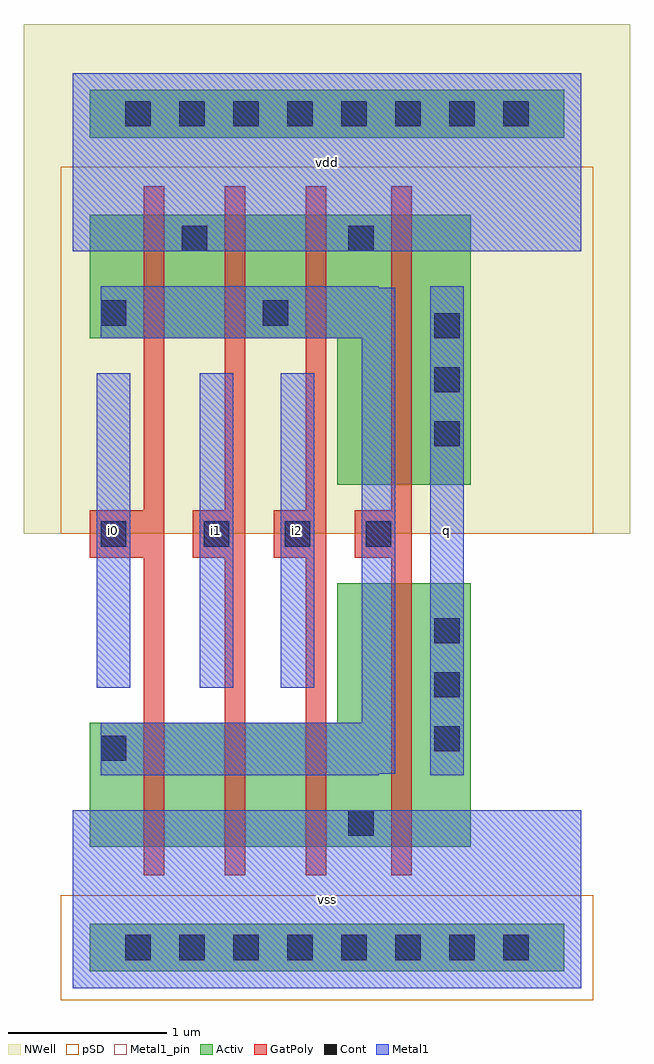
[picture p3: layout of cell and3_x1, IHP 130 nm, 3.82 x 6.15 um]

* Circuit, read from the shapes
.subckt and3_x1 i0 i1 i2 q vdd vss
XM1 n1 i0 n2 vss sg13_lv_nmos w=0.78u l=0.13u
XM2 n3 i1 n1 vss sg13_lv_nmos w=0.78u l=0.13u
XM3 vss i2 n3 vss sg13_lv_nmos w=0.78u l=0.13u
XM4 q n2 vss vss sg13_lv_nmos w=1.66u l=0.13u
XM5 vdd i0 n2 vdd sg13_lv_pmos w=0.78u l=0.13u
XM6 n2 i1 vdd vdd sg13_lv_pmos w=0.78u l=0.13u
XM7 vdd i2 n2 vdd sg13_lv_pmos w=0.78u l=0.13u
XM8 q n2 vdd vdd sg13_lv_pmos w=1.7u l=0.13u
.ends

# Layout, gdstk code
import gdstk
lib = gdstk.Library(unit=1e-6, precision=1e-09)
def R(c, l, rs):  # rectangles x0, y0, x1, y1
    for r in rs: c.add(gdstk.rectangle(r[:2], r[2:], *l))
def P(c, l, *ps):  # polygons
    for p in ps: c.add(gdstk.Polygon(p, *l))
Activ = (1, 0)
GatPoly = (5, 0)
Cont = (6, 0)
Metal1 = (8, 0)
Metal1_pin = (8, 2)
pSD = (14, 0)
NWell = (31, 0)

and3_x1 = lib.new_cell('and3_x1')
P(and3_x1, Activ, [(0.575,0.89),(0.575,1.67),(0.805,1.67),(0.805,0.89),(0.575,0.89)],
  [(0.725,0.89),(0.725,1.67),(0.955,1.67),(0.955,0.89),(0.725,0.89)],
  [(0.58,0.89),(0.58,1.67),(0.95,1.67),(0.95,0.89),(0.58,0.89)],
  [(0.645,0.89),(0.645,1.67),(0.885,1.67),(0.885,0.89),(0.645,0.89)],
  [(1.09,0.89),(1.09,1.67),(1.46,1.67),(1.46,0.89),(1.09,0.89)],
  [(1.235,0.89),(1.235,1.67),(1.465,1.67),(1.465,0.89),(1.235,0.89)],
  [(1.085,0.89),(1.085,1.67),(1.315,1.67),(1.315,0.89),(1.085,0.89)],
  [(1.155,0.89),(1.155,1.67),(1.395,1.67),(1.395,0.89),(1.155,0.89)],
  [(1.595,0.89),(1.595,1.67),(1.825,1.67),(1.825,0.89),(1.595,0.89)],
  [(0.105,0.105),(0.105,0.405),(3.095,0.405),(3.095,0.105),(0.105,0.105)],
  [(2.005,0.89),(2.005,2.55),(2.135,2.55),(2.135,0.89),(2.005,0.89)],
  [(1.665,0.89),(1.665,2.55),(1.965,2.55),(1.965,0.89),(1.665,0.89)],
  [(1.465,0.89),(1.465,1.67),(1.595,1.67),(1.595,0.89),(1.465,0.89)],
  [(0.26,0.105),(0.26,0.405),(2.94,0.405),(2.94,0.105),(0.26,0.105)],
  [(0.955,0.89),(0.955,1.67),(1.085,1.67),(1.085,0.89),(0.955,0.89)],
  [(1.775,0.89),(1.775,2.55),(2.005,2.55),(2.005,0.89),(1.775,0.89)],
  [(0.445,0.89),(0.445,1.67),(0.575,1.67),(0.575,0.89),(0.445,0.89)],
  [(1.665,0.89),(1.665,2.55),(1.935,2.55),(1.935,0.89),(1.665,0.89)],
  [(1.665,0.89),(1.665,1.19),(1.965,1.19),(1.965,0.89),(1.665,0.89)],
  [(0.615,4.09),(0.615,4.87),(0.915,4.87),(0.915,4.09),(0.615,4.09)],
  [(1.595,4.09),(1.595,4.87),(1.825,4.87),(1.825,4.09),(1.595,4.09)],
  [(0.955,4.09),(0.955,4.87),(1.085,4.87),(1.085,4.09),(0.955,4.09)],
  [(0.725,4.09),(0.725,4.87),(0.955,4.87),(0.955,4.09),(0.725,4.09)],
  [(2.005,3.17),(2.005,4.87),(2.135,4.87),(2.135,3.17),(2.005,3.17)],
  [(0.645,4.09),(0.645,4.87),(0.885,4.87),(0.885,4.09),(0.645,4.09)],
  [(0.445,4.09),(0.445,4.87),(0.575,4.87),(0.575,4.09),(0.445,4.09)],
  [(1.465,4.09),(1.465,4.87),(1.595,4.87),(1.595,4.09),(1.465,4.09)],
  [(0.575,4.09),(0.575,4.87),(0.805,4.87),(0.805,4.09),(0.575,4.09)],
  [(0.105,5.355),(0.105,5.655),(3.095,5.655),(3.095,5.355),(0.105,5.355)],
  [(1.775,3.17),(1.775,4.87),(2.005,4.87),(2.005,3.17),(1.775,3.17)],
  [(0.26,5.355),(0.26,5.655),(2.94,5.655),(2.94,5.355),(0.26,5.355)],
  [(1.665,3.17),(1.665,4.87),(1.965,4.87),(1.965,3.17),(1.665,3.17)],
  [(0.615,4.57),(0.615,4.87),(0.915,4.87),(0.915,4.57),(0.615,4.57)],
  [(1.665,3.17),(1.665,4.87),(1.935,4.87),(1.935,3.17),(1.665,3.17)],
  [(1.665,4.57),(1.665,4.87),(1.965,4.87),(1.965,4.57),(1.665,4.57)],
  [(2.205,0.89),(2.205,2.55),(2.505,2.55),(2.505,0.89),(2.205,0.89)],
  [(2.205,1.42),(2.205,2.4),(2.505,2.4),(2.505,1.42),(2.205,1.42)],
  [(2.135,3.17),(2.135,4.87),(2.365,4.87),(2.365,3.17),(2.135,3.17)],
  [(2.135,0.89),(2.135,2.55),(2.365,2.55),(2.365,0.89),(2.135,0.89)],
  [(2.205,0.89),(2.205,2.55),(2.505,2.55),(2.505,0.89),(2.205,0.89)],
  [(2.205,3.34),(2.205,4.32),(2.505,4.32),(2.505,3.34),(2.205,3.34)],
  [(2.205,3.17),(2.205,4.87),(2.505,4.87),(2.505,3.17),(2.205,3.17)],
  [(2.205,3.17),(2.205,4.87),(2.505,4.87),(2.505,3.17),(2.205,3.17)],
  [(0.105,0.89),(0.105,1.67),(0.375,1.67),(0.375,0.89),(0.105,0.89)],
  [(1.085,4.09),(1.085,4.87),(1.315,4.87),(1.315,4.09),(1.085,4.09)],
  [(0.105,4.1),(0.105,4.4),(0.405,4.4),(0.405,4.1),(0.105,4.1)],
  [(0.105,0.89),(0.105,1.67),(0.405,1.67),(0.405,0.89),(0.105,0.89)],
  [(0.105,4.09),(0.105,4.87),(0.375,4.87),(0.375,4.09),(0.105,4.09)],
  [(1.125,4.1),(1.125,4.4),(1.425,4.4),(1.425,4.1),(1.125,4.1)],
  [(1.235,4.09),(1.235,4.87),(1.465,4.87),(1.465,4.09),(1.235,4.09)],
  [(0.105,1.36),(0.105,1.66),(0.405,1.66),(0.405,1.36),(0.105,1.36)],
  [(0.105,4.09),(0.105,4.87),(0.405,4.87),(0.405,4.09),(0.105,4.09)],
  [(1.125,4.09),(1.125,4.87),(1.425,4.87),(1.425,4.09),(1.125,4.09)],
  [(0.215,4.09),(0.215,4.87),(0.445,4.87),(0.445,4.09),(0.215,4.09)],
  [(0.215,0.89),(0.215,1.67),(0.445,1.67),(0.445,0.89),(0.215,0.89)],
  [(1.155,4.09),(1.155,4.87),(1.395,4.87),(1.395,4.09),(1.155,4.09)])
P(and3_x1, GatPoly, [(2.005,0.71),(2.005,2.73),(2.135,2.73),(2.135,0.71),(2.005,0.71)],
  [(2.005,0.71),(2.005,2.99),(2.135,2.99),(2.135,0.71),(2.005,0.71)],
  [(1.925,2.71),(1.925,3.01),(2.07,3.01),(2.07,2.71),(1.925,2.71)],
  [(1.775,2.71),(1.775,3.01),(2.075,3.01),(2.075,2.71),(1.775,2.71)],
  [(2.005,2.99),(2.005,5.05),(2.135,5.05),(2.135,2.99),(2.005,2.99)],
  [(1.465,0.71),(1.465,1.85),(1.595,1.85),(1.595,0.71),(1.465,0.71)],
  [(1.465,3.91),(1.465,5.05),(1.595,5.05),(1.595,3.91),(1.465,3.91)],
  [(1.465,0.71),(1.465,3.91),(1.595,3.91),(1.595,0.71),(1.465,0.71)],
  [(1.265,2.71),(1.265,3.01),(1.565,3.01),(1.565,2.71),(1.265,2.71)],
  [(1.415,2.71),(1.415,3.01),(1.53,3.01),(1.53,2.71),(1.415,2.71)],
  [(0.955,0.71),(0.955,1.85),(1.085,1.85),(1.085,0.71),(0.955,0.71)],
  [(0.905,2.71),(0.905,3.01),(1.02,3.01),(1.02,2.71),(0.905,2.71)],
  [(0.955,0.71),(0.955,3.91),(1.085,3.91),(1.085,0.71),(0.955,0.71)],
  [(0.955,3.91),(0.955,5.05),(1.085,5.05),(1.085,3.91),(0.955,3.91)],
  [(0.755,2.71),(0.755,3.01),(1.055,3.01),(1.055,2.71),(0.755,2.71)],
  [(0.445,0.71),(0.445,3.91),(0.575,3.91),(0.575,0.71),(0.445,0.71)],
  [(0.255,2.71),(0.255,3.01),(0.51,3.01),(0.51,2.71),(0.255,2.71)],
  [(0.445,0.71),(0.445,1.85),(0.575,1.85),(0.575,0.71),(0.445,0.71)],
  [(0.105,2.71),(0.105,3.01),(0.405,3.01),(0.405,2.71),(0.105,2.71)],
  [(0.445,3.91),(0.445,5.05),(0.575,5.05),(0.575,3.91),(0.445,3.91)])
P(and3_x1, Cont, [(0.33,0.175),(0.33,0.335),(0.49,0.335),(0.49,0.175),(0.33,0.175)],
  [(0.67,0.175),(0.67,0.335),(0.83,0.335),(0.83,0.175),(0.67,0.175)],
  [(1.01,0.175),(1.01,0.335),(1.17,0.335),(1.17,0.175),(1.01,0.175)],
  [(1.35,0.175),(1.35,0.335),(1.51,0.335),(1.51,0.175),(1.35,0.175)],
  [(1.69,0.175),(1.69,0.335),(1.85,0.335),(1.85,0.175),(1.69,0.175)],
  [(2.03,0.175),(2.03,0.335),(2.19,0.335),(2.19,0.175),(2.03,0.175)],
  [(2.37,0.175),(2.37,0.335),(2.53,0.335),(2.53,0.175),(2.37,0.175)],
  [(2.71,0.175),(2.71,0.335),(2.87,0.335),(2.87,0.175),(2.71,0.175)],
  [(1.735,0.96),(1.735,1.12),(1.895,1.12),(1.895,0.96),(1.735,0.96)],
  [(1.735,4.64),(1.735,4.8),(1.895,4.8),(1.895,4.64),(1.735,4.64)],
  [(2.71,5.425),(2.71,5.585),(2.87,5.585),(2.87,5.425),(2.71,5.425)],
  [(2.37,5.425),(2.37,5.585),(2.53,5.585),(2.53,5.425),(2.37,5.425)],
  [(2.03,5.425),(2.03,5.585),(2.19,5.585),(2.19,5.425),(2.03,5.425)],
  [(1.69,5.425),(1.69,5.585),(1.85,5.585),(1.85,5.425),(1.69,5.425)],
  [(1.35,5.425),(1.35,5.585),(1.51,5.585),(1.51,5.425),(1.35,5.425)],
  [(1.01,5.425),(1.01,5.585),(1.17,5.585),(1.17,5.425),(1.01,5.425)],
  [(0.685,4.64),(0.685,4.8),(0.845,4.8),(0.845,4.64),(0.685,4.64)],
  [(0.33,5.425),(0.33,5.585),(0.49,5.585),(0.49,5.425),(0.33,5.425)],
  [(0.67,5.425),(0.67,5.585),(0.83,5.585),(0.83,5.425),(0.67,5.425)],
  [(2.275,2.17),(2.275,2.33),(2.435,2.33),(2.435,2.17),(2.275,2.17)],
  [(2.275,1.83),(2.275,1.99),(2.435,1.99),(2.435,1.83),(2.275,1.83)],
  [(2.275,1.49),(2.275,1.65),(2.435,1.65),(2.435,1.49),(2.275,1.49)],
  [(2.275,3.41),(2.275,3.57),(2.435,3.57),(2.435,3.41),(2.275,3.41)],
  [(2.275,3.75),(2.275,3.91),(2.435,3.91),(2.435,3.75),(2.275,3.75)],
  [(2.275,4.09),(2.275,4.25),(2.435,4.25),(2.435,4.09),(2.275,4.09)],
  [(0.175,4.17),(0.175,4.33),(0.335,4.33),(0.335,4.17),(0.175,4.17)],
  [(1.195,4.17),(1.195,4.33),(1.355,4.33),(1.355,4.17),(1.195,4.17)],
  [(1.845,2.78),(1.845,2.94),(2.005,2.94),(2.005,2.78),(1.845,2.78)],
  [(0.175,1.43),(0.175,1.59),(0.335,1.59),(0.335,1.43),(0.175,1.43)],
  [(1.335,2.78),(1.335,2.94),(1.495,2.94),(1.495,2.78),(1.335,2.78)],
  [(0.825,2.78),(0.825,2.94),(0.985,2.94),(0.985,2.78),(0.825,2.78)],
  [(0.175,2.78),(0.175,2.94),(0.335,2.94),(0.335,2.78),(0.175,2.78)])
R(and3_x1, Metal1, [(0,0,3.2,1.12), (2.25,1.34,2.46,4.42), (0.15,1.89,0.36,3.87), (0.8,1.89,1.01,3.87), (1.31,1.89,1.52,3.87), (0,4.64,3.2,5.76)])
P(and3_x1, Metal1, [(1.655,0.96),(1.655,1.12),(1.975,1.12),(1.975,0.96),(1.655,0.96)],
  [(0,0),(0,1.12),(3.2,1.12),(3.2,0),(0,0)],
  [(0.33,0.095),(0.33,0.415),(2.87,0.415),(2.87,0.095),(0.33,0.095)],
  [(0,4.64),(0,5.76),(3.2,5.76),(3.2,4.64),(0,4.64)],
  [(0.33,5.345),(0.33,5.665),(2.87,5.665),(2.87,5.345),(0.33,5.345)],
  [(1.655,4.64),(1.655,4.8),(1.975,4.8),(1.975,4.64),(1.655,4.64)],
  [(0.605,4.64),(0.605,4.8),(0.925,4.8),(0.925,4.64),(0.605,4.64)],
  [(2.25,1.34),(2.25,4.42),(2.46,4.42),(2.46,1.34),(2.25,1.34)],
  [(2.275,3.24),(2.275,4.42),(2.435,4.42),(2.435,3.24),(2.275,3.24)],
  [(2.275,1.34),(2.275,2.48),(2.435,2.48),(2.435,1.34),(2.275,1.34)],
  [(2.275,1.41),(2.275,2.41),(2.435,2.41),(2.435,1.41),(2.275,1.41)],
  [(2.275,3.33),(2.275,4.33),(2.435,4.33),(2.435,3.33),(2.275,3.33)],
  [(0.255,1.34),(0.255,1.67),(1.925,1.67),(1.925,1.34),(0.255,1.34)],
  [(0.175,4.09),(0.175,4.41),(0.335,4.41),(0.335,4.09),(0.175,4.09)],
  [(1.82,1.35),(1.82,4.41),(2.03,4.41),(2.03,1.35),(1.82,1.35)],
  [(1.195,4.09),(1.195,4.41),(1.355,4.41),(1.355,4.09),(1.195,4.09)],
  [(1.82,1.35),(1.82,1.67),(2.03,1.67),(2.03,1.35),(1.82,1.35)],
  [(0.175,4.09),(0.175,4.42),(0.335,4.42),(0.335,4.09),(0.175,4.09)],
  [(0.255,4.09),(0.255,4.42),(1.925,4.42),(1.925,4.09),(0.255,4.09)],
  [(1.195,4.09),(1.195,4.42),(1.355,4.42),(1.355,4.09),(1.195,4.09)],
  [(0.175,1.35),(0.175,1.67),(0.335,1.67),(0.335,1.35),(0.175,1.35)],
  [(0.175,1.34),(0.175,1.67),(0.335,1.67),(0.335,1.34),(0.175,1.34)],
  [(1.845,2.7),(1.845,3.02),(2.005,3.02),(2.005,2.7),(1.845,2.7)],
  [(1.82,4.09),(1.82,4.41),(2.03,4.41),(2.03,4.09),(1.82,4.09)],
  [(1.31,1.89),(1.31,3.87),(1.52,3.87),(1.52,1.89),(1.31,1.89)],
  [(1.335,2.7),(1.335,3.02),(1.495,3.02),(1.495,2.7),(1.335,2.7)],
  [(0.8,1.89),(0.8,3.87),(1.01,3.87),(1.01,1.89),(0.8,1.89)],
  [(0.825,2.7),(0.825,3.02),(0.985,3.02),(0.985,2.7),(0.825,2.7)],
  [(0.15,1.89),(0.15,3.87),(0.36,3.87),(0.36,1.89),(0.15,1.89)],
  [(0.175,2.7),(0.175,3.02),(0.335,3.02),(0.335,2.7),(0.175,2.7)])
R(and3_x1, Metal1_pin, [(0,0,3.2,1.12), (0,0,3.2,1.12), (2.25,1.34,2.46,4.42), (2.25,1.34,2.46,4.42), (0.15,1.89,0.36,3.87), (0.15,1.89,0.36,3.87), (0.8,1.89,1.01,3.87), (0.8,1.89,1.01,3.87), (1.31,1.89,1.52,3.87), (1.31,1.89,1.52,3.87), (0,4.64,3.2,5.76), (0,4.64,3.2,5.76)])
P(and3_x1, pSD, [(-0.075,2.86),(-0.075,5.17),(3.275,5.17),(3.275,2.86),(-0.075,2.86)],
  [(1.485,2.87),(1.485,5.17),(2.115,5.17),(2.115,2.87),(1.485,2.87)],
  [(1.705,2.87),(1.705,5.17),(2.435,5.17),(2.435,2.87),(1.705,2.87)],
  [(1.485,4.27),(1.485,5.17),(2.145,5.17),(2.145,4.27),(1.485,4.27)],
  [(0.465,3.79),(0.465,5.17),(1.065,5.17),(1.065,3.79),(0.465,3.79)],
  [(-0.075,-0.075),(-0.075,0.585),(3.275,0.585),(3.275,-0.075),(-0.075,-0.075)],
  [(2.025,3.04),(2.025,4.62),(2.685,4.62),(2.685,3.04),(2.025,3.04)],
  [(1.165,3.79),(1.165,5.17),(1.895,5.17),(1.895,3.79),(1.165,3.79)],
  [(-0.075,3.79),(-0.075,5.17),(0.555,5.17),(0.555,3.79),(-0.075,3.79)],
  [(-0.075,3.79),(-0.075,5.17),(0.585,5.17),(0.585,3.79),(-0.075,3.79)],
  [(-0.075,3.8),(-0.075,4.7),(0.585,4.7),(0.585,3.8),(-0.075,3.8)],
  [(1.485,2.87),(1.485,5.17),(2.145,5.17),(2.145,2.87),(1.485,2.87)],
  [(0.655,3.79),(0.655,5.17),(1.385,5.17),(1.385,3.79),(0.655,3.79)],
  [(2.025,2.87),(2.025,5.17),(2.685,5.17),(2.685,2.87),(2.025,2.87)],
  [(0.435,3.79),(0.435,5.17),(1.095,5.17),(1.095,3.79),(0.435,3.79)],
  [(0.945,3.8),(0.945,4.7),(1.605,4.7),(1.605,3.8),(0.945,3.8)],
  [(1.055,3.91),(1.055,5.05),(2.005,5.05),(2.005,3.91),(1.055,3.91)],
  [(0.545,3.91),(0.545,5.05),(1.495,5.05),(1.495,3.91),(0.545,3.91)],
  [(0.435,4.27),(0.435,5.17),(1.095,5.17),(1.095,4.27),(0.435,4.27)],
  [(2.025,2.87),(2.025,5.17),(2.685,5.17),(2.685,2.87),(2.025,2.87)],
  [(1.595,2.99),(1.595,5.05),(2.545,5.05),(2.545,2.99),(1.595,2.99)],
  [(0.975,3.79),(0.975,5.17),(1.575,5.17),(1.575,3.79),(0.975,3.79)],
  [(0.08,-0.075),(0.08,0.585),(3.12,0.585),(3.12,-0.075),(0.08,-0.075)],
  [(0.035,3.91),(0.035,5.05),(0.985,5.05),(0.985,3.91),(0.035,3.91)],
  [(0.945,3.79),(0.945,5.17),(1.605,5.17),(1.605,3.79),(0.945,3.79)],
  [(0.145,3.79),(0.145,5.17),(0.875,5.17),(0.875,3.79),(0.145,3.79)])
P(and3_x1, NWell, [(0.815,3.79),(0.815,4.71),(1.735,4.71),(1.735,3.79),(0.815,3.79)],
  [(0.815,3.78),(0.815,5.18),(1.735,5.18),(1.735,3.78),(0.815,3.78)],
  [(0.305,4.26),(0.305,5.18),(1.225,5.18),(1.225,4.26),(0.305,4.26)],
  [(0.845,3.78),(0.845,5.18),(1.705,5.18),(1.705,3.78),(0.845,3.78)],
  [(1.355,2.86),(1.355,5.18),(2.275,5.18),(2.275,2.86),(1.355,2.86)],
  [(-0.05,5.045),(-0.05,5.965),(3.25,5.965),(3.25,5.045),(-0.05,5.045)],
  [(1.355,2.86),(1.355,5.18),(2.245,5.18),(2.245,2.86),(1.355,2.86)],
  [(-0.095,3.78),(-0.095,5.18),(1.115,5.18),(1.115,3.78),(-0.095,3.78)],
  [(-0.205,3.78),(-0.205,5.18),(0.685,5.18),(0.685,3.78),(-0.205,3.78)],
  [(-0.31,2.86),(-0.31,6.07),(3.51,6.07),(3.51,2.86),(-0.31,2.86)],
  [(0.335,3.78),(0.335,5.18),(1.195,5.18),(1.195,3.78),(0.335,3.78)],
  [(0.305,3.78),(0.305,5.18),(1.225,5.18),(1.225,3.78),(0.305,3.78)],
  [(1.895,2.86),(1.895,5.18),(2.815,5.18),(2.815,2.86),(1.895,2.86)],
  [(-0.205,3.78),(-0.205,5.18),(0.715,5.18),(0.715,3.78),(-0.205,3.78)],
  [(1.895,2.86),(1.895,5.18),(2.815,5.18),(2.815,2.86),(1.895,2.86)],
  [(1.465,2.86),(1.465,5.18),(2.675,5.18),(2.675,2.86),(1.465,2.86)],
  [(0.415,3.78),(0.415,5.18),(1.625,5.18),(1.625,3.78),(0.415,3.78)],
  [(-0.205,3.79),(-0.205,4.71),(0.715,4.71),(0.715,3.79),(-0.205,3.79)],
  [(1.895,3.03),(1.895,4.63),(2.815,4.63),(2.815,3.03),(1.895,3.03)],
  [(1.355,4.26),(1.355,5.18),(2.275,5.18),(2.275,4.26),(1.355,4.26)],
  [(0.925,3.78),(0.925,5.18),(2.135,5.18),(2.135,3.78),(0.925,3.78)],
  [(-0.205,5.045),(-0.205,5.965),(3.405,5.965),(3.405,5.045),(-0.205,5.045)])
and3_x1.add(gdstk.Label('vss', (1.6,0.56), layer=8, texttype=25))
and3_x1.add(gdstk.Label('vdd', (1.6,5.2), layer=8, texttype=25))
and3_x1.add(gdstk.Label('q', (2.355,2.88), layer=8, texttype=25))
and3_x1.add(gdstk.Label('i2', (1.415,2.88), layer=8, texttype=25))
and3_x1.add(gdstk.Label('i1', (0.905,2.88), layer=8, texttype=25))
and3_x1.add(gdstk.Label('i0', (0.255,2.88), layer=8, texttype=25))

lib.write_gds('and3_x1.gds')
